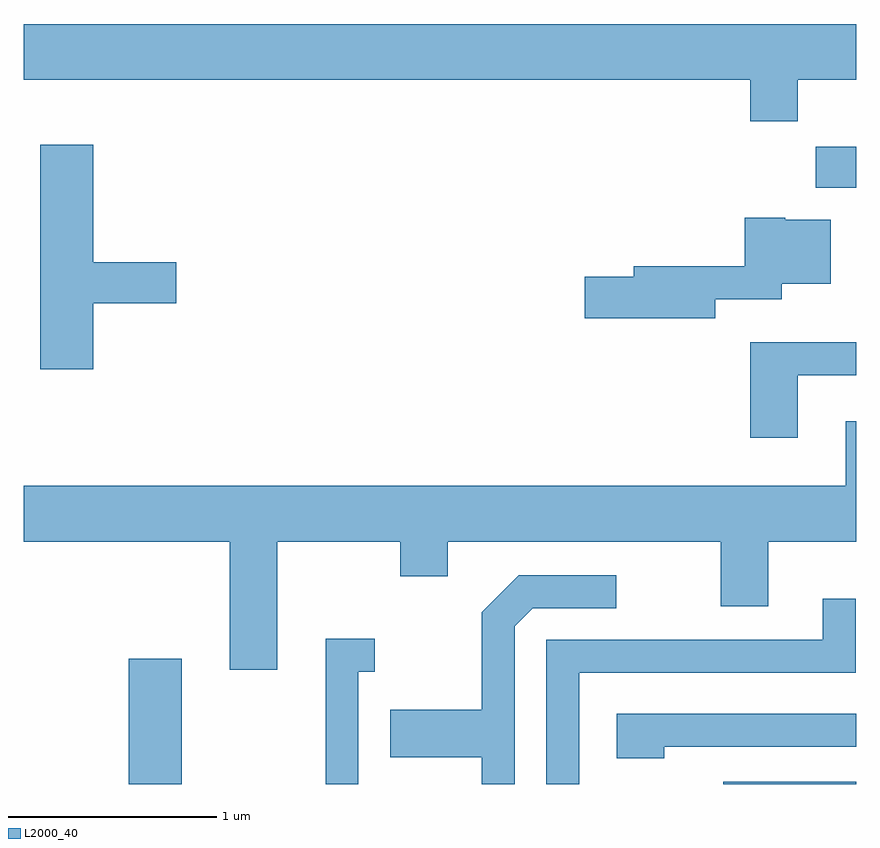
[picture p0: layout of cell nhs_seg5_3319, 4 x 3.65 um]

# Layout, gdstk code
import gdstk
lib = gdstk.Library(unit=1e-6, precision=1e-09)
def R(c, l, rs):  # rectangles x0, y0, x1, y1
    for r in rs: c.add(gdstk.rectangle(r[:2], r[2:], *l))
def P(c, l, *ps):  # polygons
    for p in ps: c.add(gdstk.Polygon(p, *l))
L2000_40 = (2000, 40)

nhs_seg5_3319 = lib.new_cell('nhs_seg5_3319')
R(nhs_seg5_3319, L2000_40, [(284.116,1460.072,284.369,1460.674), (286.973,1460.072,287.611,1460.084), (287.416,1462.936,287.611,1463.134)])
P(nhs_seg5_3319, L2000_40, [(287.329,1463.456),(287.611,1463.456),(287.611,1463.724),(283.611,1463.724),(283.611,1463.456),(287.101,1463.456),(287.101,1463.256),(287.329,1463.256)],
  [(283.944,1462.381),(284.344,1462.381),(284.344,1462.579),(283.944,1462.579),(283.944,1463.144),(283.691,1463.144),(283.691,1462.066),(283.944,1462.066)],
  [(286.934,1462.401),(287.254,1462.401),(287.254,1462.476),(287.489,1462.476),(287.489,1462.784),(287.27,1462.784),(287.27,1462.794),(287.076,1462.794),(287.076,1462.559),(286.541,1462.559),(286.541,1462.509),(286.306,1462.509),(286.306,1462.311),(286.934,1462.311)],
  [(287.329,1462.036),(287.611,1462.036),(287.611,1462.194),(287.101,1462.194),(287.101,1461.736),(287.329,1461.736)],
  [(284.829,1461.236),(285.421,1461.236),(285.421,1461.071),(285.649,1461.071),(285.649,1461.236),(286.961,1461.236),(286.961,1460.926),(287.189,1460.926),(287.189,1461.236),(287.611,1461.236),(287.611,1461.814),(287.561,1461.814),(287.561,1461.504),(283.611,1461.504),(283.611,1461.236),(284.601,1461.236),(284.601,1460.621),(284.829,1460.621)],
  [(285.969,1460.829),(286.057,1460.916),(286.458,1460.916),(286.458,1461.074),(285.989,1461.074),(285.811,1460.897),(285.811,1460.429),(285.371,1460.429),(285.371,1460.201),(285.811,1460.201),(285.811,1460.072),(285.969,1460.072)],
  [(286.279,1460.606),(287.609,1460.606),(287.609,1460.963),(287.451,1460.963),(287.451,1460.764),(286.121,1460.764),(286.121,1460.072),(286.279,1460.072)],
  [(285.219,1460.611),(285.298,1460.611),(285.298,1460.769),(285.061,1460.769),(285.061,1460.072),(285.219,1460.072)],
  [(286.689,1460.251),(287.611,1460.251),(287.611,1460.409),(286.461,1460.409),(286.461,1460.196),(286.689,1460.196)])

lib.write_gds('nhs_seg5_3319.gds')
